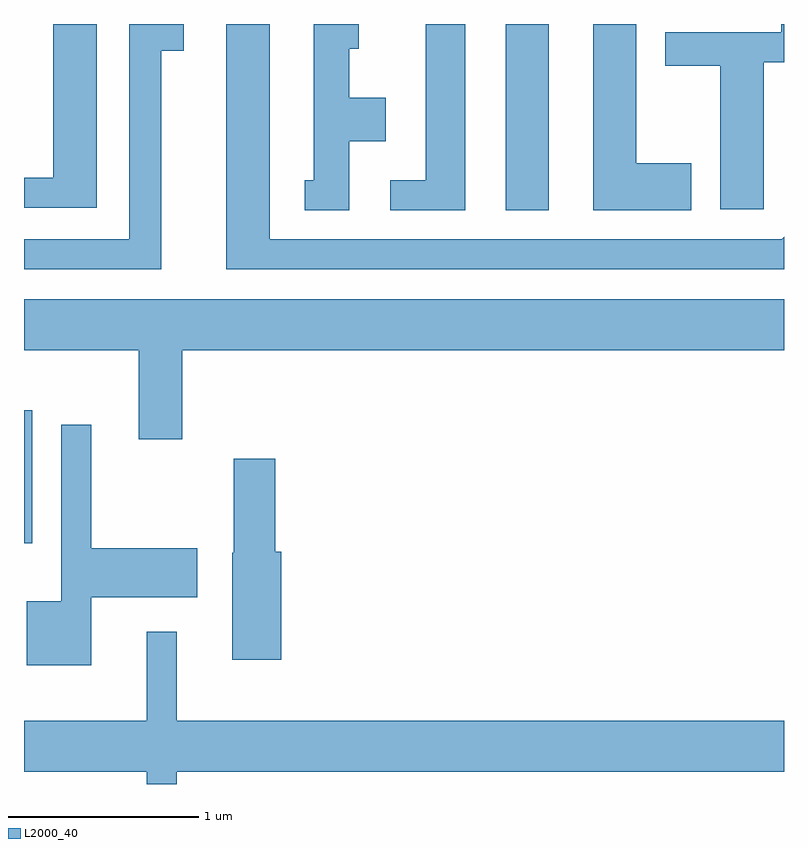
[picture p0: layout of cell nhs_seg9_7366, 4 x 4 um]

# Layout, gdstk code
import gdstk
lib = gdstk.Library(unit=1e-6, precision=1e-09)
def R(c, l, rs):  # rectangles x0, y0, x1, y1
    for r in rs: c.add(gdstk.rectangle(r[:2], r[2:], *l))
def P(c, l, *ps):  # polygons
    for p in ps: c.add(gdstk.Polygon(p, *l))
L2000_40 = (2000, 40)

nhs_seg9_7366 = lib.new_cell('nhs_seg9_7366')
R(nhs_seg9_7366, L2000_40, [(403.611,1979.698,403.654,1980.399), (406.146,1981.451,406.374,1982.432)])
P(nhs_seg9_7366, L2000_40, [(405.934,1982.432),(405.726,1982.432),(405.726,1981.609),(405.538,1981.609),(405.538,1981.451),(405.934,1981.451)],
  [(405.324,1981.816),(405.514,1981.816),(405.514,1982.044),(405.324,1982.044),(405.324,1982.301),(405.373,1982.301),(405.373,1982.432),(405.136,1982.432),(405.136,1981.609),(405.088,1981.609),(405.088,1981.451),(405.324,1981.451)],
  [(407.504,1982.231),(407.611,1982.231),(407.611,1982.432),(407.596,1982.432),(407.596,1982.389),(406.986,1982.389),(406.986,1982.211),(407.276,1982.211),(407.276,1981.456),(407.504,1981.456)],
  [(407.611,1981.311),(407.599,1981.299),(404.904,1981.299),(404.904,1982.432),(404.676,1982.432),(404.676,1981.141),(407.611,1981.141)],
  [(403.994,1982.432),(403.766,1982.432),(403.766,1981.624),(403.611,1981.624),(403.611,1981.466),(403.994,1981.466)],
  [(407.124,1981.699),(406.834,1981.699),(406.834,1982.432),(406.606,1982.432),(406.606,1981.451),(407.124,1981.451)],
  [(404.334,1982.291),(404.453,1982.291),(404.453,1982.432),(404.166,1982.432),(404.166,1981.299),(403.611,1981.299),(403.611,1981.141),(404.334,1981.141)],
  [(404.444,1980.716),(407.611,1980.716),(407.611,1980.984),(403.611,1980.984),(403.611,1980.716),(404.216,1980.716),(404.216,1980.246),(404.444,1980.246)],
  [(403.964,1979.416),(404.524,1979.416),(404.524,1979.674),(403.964,1979.674),(403.964,1980.323),(403.806,1980.323),(403.806,1979.394),(403.626,1979.394),(403.626,1979.056),(403.964,1979.056)],
  [(404.964,1979.654),(404.934,1979.654),(404.934,1980.144),(404.716,1980.144),(404.716,1979.65),(404.706,1979.65),(404.706,1979.086),(404.964,1979.086)],
  [(404.414,1978.496),(407.611,1978.496),(407.611,1978.764),(404.414,1978.764),(404.414,1979.233),(404.256,1979.233),(404.256,1978.764),(403.611,1978.764),(403.611,1978.496),(404.256,1978.496),(404.256,1978.432),(404.414,1978.432)])

lib.write_gds('nhs_seg9_7366.gds')
